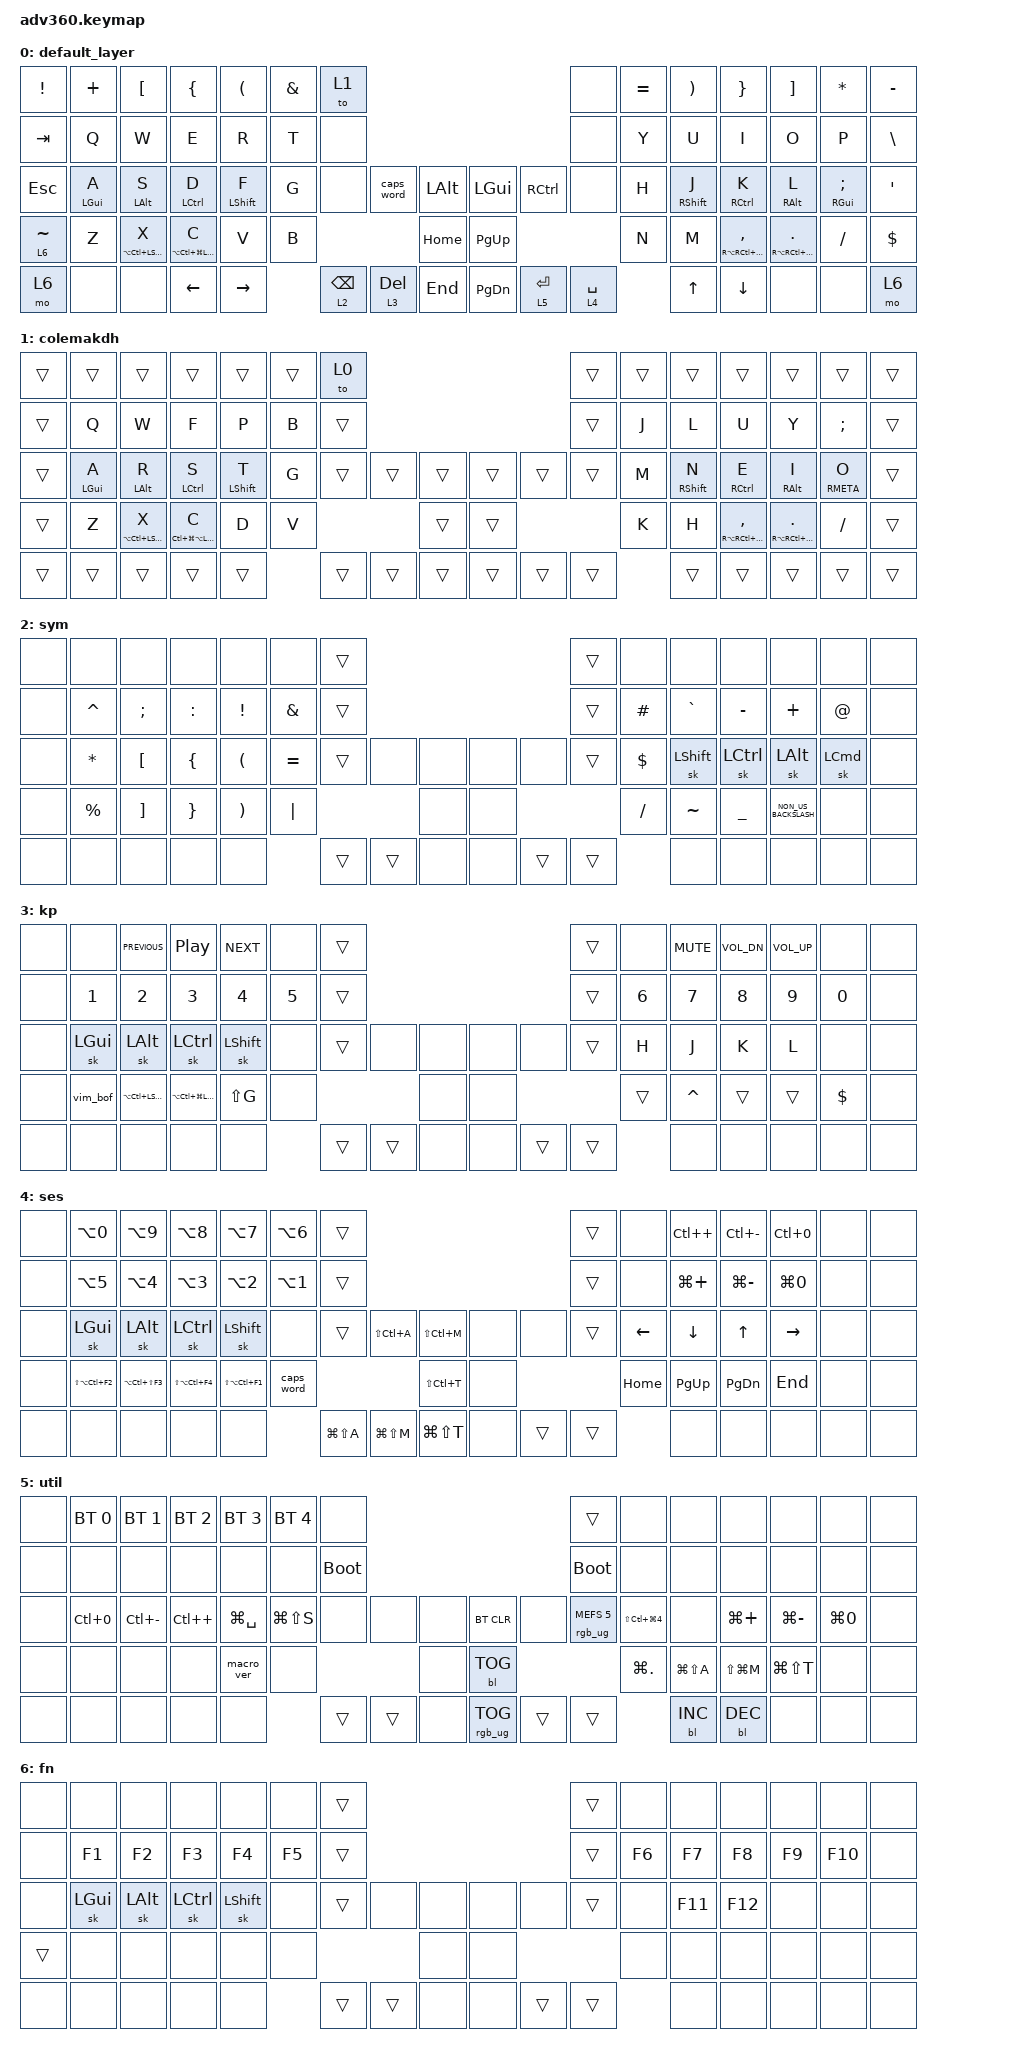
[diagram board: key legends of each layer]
#include <behaviors.dtsi>
#include <dt-bindings/zmk/backlight.h>
#include <dt-bindings/zmk/bt.h>
#include <dt-bindings/zmk/keys.h>
#include <dt-bindings/zmk/rgb.h>

/ {
    behaviors {
        #include "macros.dtsi"
      #include "version.dtsi"
      #ifndef VERSION_MACRO

        macro_ver: macro_ver {
            compatible = "zmk,behavior-macro";
            label = "macro_version";
            #binding-cells = <0>;
            bindings = <&kp RET>;
        };

        tmuxwin: workspace {
            compatible = "zmk,behavior-macro-one-param";
            #binding-cells = <1>;
            bindings = <&kp LC(A) &macro_param_1to1 &kp MACRO_PLACEHOLDER>;
            label = "WORKSPACE";
        };

        vim_bof: vim_bof {
            compatible = "zmk,behavior-macro";
            #binding-cells = <0>;
            bindings = <&kp G &kp G>;
            label = "vim_gg";
        };

        #endif

        hm: homerow_mods {
            compatible = "zmk,behavior-hold-tap";
            label = "HOMEROW_MODS";
            #binding-cells = <2>;
            tapping-term-ms = <233>;
            quick_tap_ms = <175>;
            flavor = "tap-preferred";
            bindings = <&kp>, <&kp>;
        };

        kpmo: kpmo {
            compatible = "zmk,behavior-hold-tap";
            label = "KPMO";
            bindings = <&mo>, <&kp>;

            #binding-cells = <2>;
            flavor = "balanced";
            tapping-term-ms = <280>;
            quick-tap-ms = <175>;
            require-prior-idle-ms = <150>;
        };

        hml: hml {
            compatible = "zmk,behavior-hold-tap";
            label = "HML";
            #binding-cells = <2>;
            tapping-term-ms = <280>;
            quick_tap_ms = <175>;
            flavor = "balanced";
            bindings = <&kp>, <&kp>;

            quick-tap-ms = <175>;
            require-prior-idle-ms = <150>;
            hold-trigger-key-positions = <75 45 59 7 8 9 10 11 12 13 21 22 23 24 25 26 27 39 40 41 42 43 44 45 54 55 56 57 58 59 71 72 73 74 36 37 38 52 53 68 69 70 71 72 35 36 37 38 52 53 65 66 67 68 69 70>;
            hold-trigger-on-release;
        };

        hmr: hmr {
            compatible = "zmk,behavior-hold-tap";
            label = "HMR";
            #binding-cells = <2>;
            tapping-term-ms = <280>;
            quick_tap_ms = <175>;
            flavor = "balanced";
            bindings = <&kp>, <&kp>;

            quick-tap-ms = <175>;
            require-prior-idle-ms = <150>;
            hold-trigger-on-release;
            hold-trigger-key-positions = <36 37 38 52 53 68 69 70 0 1 2 3 4 5 6 14 15 16 17 18 19 20 28 29 30 31 32 33 34 35 36 46 47 48 49 50 51 52 60 61 62 63 64 65 66 67>;
        };
    };

    macros {
    };

    keymap {
        compatible = "zmk,keymap";

        default_layer {
            bindings = <
&kp EXCLAMATION  &kp PLUS         &kp LEFT_BRACKET      &kp LEFT_BRACE                 &kp LEFT_PARENTHESIS  &kp AMPERSAND  &to 1                                                                   &none          &kp EQUAL  &kp RIGHT_PARENTHESIS  &kp RIGHT_BRACE               &kp RIGHT_BRACKET       &kp ASTERISK         &kp MINUS
&kp TAB          &kp Q            &kp W                 &kp E                          &kp R                 &kp T          &none                                                                   &none          &kp Y      &kp U                  &kp I                         &kp O                   &kp P                &kp BSLH
&kp ESCAPE       &hml LEFT_GUI A  &hml LALT S           &hml LCTRL D                   &hml LSHIFT F         &kp G          &none              &caps_word   &kp LALT      &kp LGUI   &kp RCTRL      &none          &kp H      &hmr RSHIFT J          &hmr RCTRL K                  &hmr RIGHT_ALT L        &hmr RIGHT_GUI SEMI  &kp SQT
&kpmo 6 TILDE    &kp Z            &hml LA(LC(LSHFT)) X  &hml LA(LC(LG(LEFT_SHIFT))) C  &kp V                 &kp B                                          &kp HOME      &kp PG_UP                                &kp N      &kp M                  &hmr RA(RC(RG(RSHFT))) COMMA  &hmr RA(RC(RSHFT)) DOT  &kp FSLH             &kp DOLLAR
&mo 6            &none            &none                 &kp LEFT                       &kp RIGHT                            &kpmo 2 BACKSPACE  &kpmo 3 DEL  &kp END       &kp PG_DN  &kpmo 5 ENTER  &kpmo 4 SPACE             &kp UP                 &kp DOWN                      &none                   &none                &mo 6
            >;
        };

        colemakdh {
            bindings = <
&trans  &trans           &trans                &trans                    &trans        &trans  &to 0                                       &trans  &trans  &trans        &trans                        &trans                  &trans        &trans
&trans  &kp Q            &kp W                 &kp F                     &kp P         &kp B   &trans                                      &trans  &kp J   &kp L         &kp U                         &kp Y                   &kp SEMI      &trans
&trans  &hml LEFT_GUI A  &hml LEFT_ALT R       &hml LCTRL S              &hml LSHFT T  &kp G   &trans  &trans  &trans      &trans  &trans  &trans  &kp M   &hmr RSHFT N  &hmr RCTRL E                  &hmr RIGHT_ALT I        &hmr RMETA O  &trans
&trans  &kp Z            &hml LA(LC(LSHFT)) X  &hml LC(LG(LA(LSHFT))) C  &kp D         &kp V                   &trans      &trans                  &kp K   &kp H         &hmr RA(RC(RG(RSHFT))) COMMA  &hmr RA(RC(RSHFT)) DOT  &kp FSLH      &trans
&trans  &trans           &trans                &trans                    &trans                &trans  &trans  &trans      &trans  &trans  &trans          &trans        &trans                        &trans                  &trans        &trans
            >;
        };

        sym {
            bindings = <
&none  &none         &none              &none            &none                  &none          &trans                                    &trans  &none       &none      &none           &none                 &none        &none
&none  &kp CARET     &kp SEMICOLON      &kp COLON        &kp EXCLAMATION        &kp AMPERSAND  &trans                                    &trans  &kp HASH    &kp GRAVE  &kp MINUS       &kp PLUS              &kp AT_SIGN  &none
&none  &kp ASTERISK  &kp LEFT_BRACKET   &kp LEFT_BRACE   &kp LEFT_PARENTHESIS   &kp EQUAL      &trans  &none   &none      &none  &none   &trans  &kp DOLLAR  &sk LSHFT  &sk LCTRL       &sk LEFT_ALT          &sk LCMD     &none
&none  &kp PERCENT   &kp RIGHT_BRACKET  &kp RIGHT_BRACE  &kp RIGHT_PARENTHESIS  &kp PIPE                       &none      &none                  &kp SLASH   &kp TILDE  &kp UNDERSCORE  &kp NON_US_BACKSLASH  &none        &none
&none  &none         &none              &none            &none                                 &trans  &trans  &none      &none  &trans  &trans              &none      &none           &none                 &none        &none
            >;
        };

        kp {
            bindings = <
&none  &none         &kp C_PREVIOUS     &kp C_PP               &kp C_NEXT  &none   &trans                                    &trans  &none   &kp C_MUTE  &kp C_VOL_DN  &kp C_VOL_UP  &none       &none
&none  &kp N1        &kp N2             &kp N3                 &kp N4      &kp N5  &trans                                    &trans  &kp N6  &kp N7      &kp N8        &kp N9        &kp N0      &none
&none  &sk LEFT_GUI  &sk LEFT_ALT       &sk LCTRL              &sk LSHFT   &none   &trans  &none   &none      &none  &none   &trans  &kp H   &kp J       &kp K         &kp L         &none       &none
&none  &vim_bof      &kp LA(LC(LSHFT))  &kp LA(LC(LG(LSHFT)))  &kp LS(G)   &none                   &none      &none                  &trans  &kp CARET   &trans        &trans        &kp DOLLAR  &none
&none  &none         &none              &none                  &none               &trans  &trans  &none      &none  &trans  &trans          &none       &none         &none         &none       &none
            >;
        };

        ses {
            bindings = <
&none  &kp LA(N0)          &kp LA(N9)          &kp LA(N8)          &kp LA(N7)          &kp LA(N6)  &trans                                                          &trans  &none     &kp LC(PLUS)  &kp LC(MINUS)  &kp LC(N0)  &none  &none
&none  &kp LA(N5)          &kp LA(N4)          &kp LA(N3)          &kp LA(N2)          &kp LA(N1)  &trans                                                          &trans  &none     &kp LG(PLUS)  &kp LG(MINUS)  &kp LG(N0)  &none  &none
&none  &sk LGUI            &sk LALT            &sk LCTRL           &sk LSHFT           &none       &trans         &kp LS(LC(A))  &kp LS(LC(M))      &none  &none   &trans  &kp LEFT  &kp DOWN      &kp UP         &kp RIGHT   &none  &none
&none  &kp LS(LA(LC(F2)))  &kp LA(LC(LS(F3)))  &kp LS(LA(LC(F4)))  &kp LS(LA(LC(F1)))  &caps_word                                &kp LS(LC(T))      &none                  &kp HOME  &kp PG_UP     &kp PG_DN      &kp END     &none  &none
&none  &none               &none               &none               &none                           &kp LG(LS(A))  &kp LG(LS(M))  &kp LG(LS(T))      &none  &trans  &trans            &none         &none          &none       &none  &none
            >;
        };

        util {
            bindings = <
&none  &bt BT_SEL 0  &bt BT_SEL 1   &bt BT_SEL 2  &bt BT_SEL 3   &bt BT_SEL 4   &none                                                    &trans                  &none                     &none          &none          &none          &none       &none
&none  &none         &none          &none         &none          &none          &bootloader                                              &bootloader             &none                     &none          &none          &none          &none       &none
&none  &kp LC(N0)    &kp LC(MINUS)  &kp LC(PLUS)  &kp LG(SPACE)  &kp LG(LS(S))  &none        &none   &none      &bt BT_CLR       &none   &rgb_ug RGB_MEFS_CMD 5  &kp LS(LC(LG(NUMBER_4)))  &none          &kp LG(PLUS)   &kp LG(MINUS)  &kp LG(N0)  &none
&none  &none         &none          &none         &macro_ver     &none                               &none      &bl BL_TOG                                       &kp LG(DOT)               &kp LG(LS(A))  &kp LS(LG(M))  &kp LG(LS(T))  &none       &none
&none  &none         &none          &none         &none                         &trans       &trans  &none      &rgb_ug RGB_TOG  &trans  &trans                                            &bl BL_INC     &bl BL_DEC     &none          &none       &none
            >;
        };

        fn {
            bindings = <
&none   &none         &none         &none      &none      &none   &trans                                    &trans  &none   &none    &none    &none   &none    &none
&none   &kp F1        &kp F2        &kp F3     &kp F4     &kp F5  &trans                                    &trans  &kp F6  &kp F7   &kp F8   &kp F9  &kp F10  &none
&none   &sk LEFT_GUI  &sk LEFT_ALT  &sk LCTRL  &sk LSHFT  &none   &trans  &none   &none      &none  &none   &trans  &none   &kp F11  &kp F12  &none   &none    &none
&trans  &none         &none         &none      &none      &none                   &none      &none                  &none   &none    &none    &none   &none    &none
&none   &none         &none         &none      &none              &trans  &trans  &none      &none  &trans  &trans          &none    &none    &none   &none    &none
            >;
        };
    };
};
